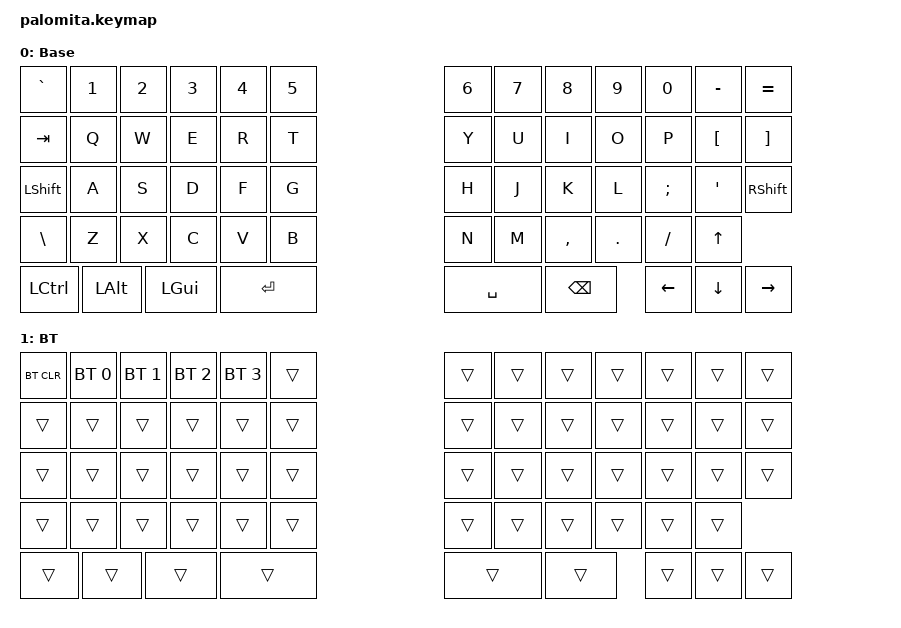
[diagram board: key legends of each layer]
/*
 * SPDX-License-Identifier: MIT
 */

#include <behaviors.dtsi>
#include <dt-bindings/zmk/keys.h>
#include <dt-bindings/zmk/bt.h>

/ {
    combos {
        compatible = "zmk,combos";

        combo_esc {
            timeout-ms = <50>;
            key-positions = <28 29>;
            bindings = <&kp ESC>;
            layers = <0>;
        };

        combo_bt {
            timeout-ms = <50>;
            key-positions = <57 59>;
            bindings = <&mo 1>;
            layers = <0>;
        };
    };

    keymap {
        compatible = "zmk,keymap";

        base_layer {
            display-name = "Base";
            bindings = <
&kp GRAVE  &kp N1     &kp N2     &kp N3     &kp N4     &kp N5                    &kp N6     &kp N7     &kp N8     &kp N9     &kp N0     &kp MINUS  &kp EQUAL
&kp TAB    &kp Q      &kp W      &kp E      &kp R      &kp T                     &kp Y      &kp U      &kp I      &kp O      &kp P      &kp LBKT   &kp RBKT
&kp LSHFT  &kp A      &kp S      &kp D      &kp F      &kp G                     &kp H      &kp J      &kp K      &kp L      &kp SEMI   &kp SQT    &kp RSHFT
&kp BSLH   &kp Z      &kp X      &kp C      &kp V      &kp B                     &kp N      &kp M      &kp COMMA  &kp DOT    &kp FSLH   &kp UP
&kp LCTRL  &kp LALT   &kp LGUI   &kp RET                                        &kp SPACE  &kp BSPC   &kp LEFT   &kp DOWN   &kp RIGHT
            >;
        };

        bt_layer {
            display-name = "BT";
            bindings = <
&bt BT_CLR &bt BT_SEL 0 &bt BT_SEL 1 &bt BT_SEL 2 &bt BT_SEL 3 &trans            &trans     &trans     &trans     &trans     &trans     &trans     &trans
&trans     &trans     &trans     &trans     &trans     &trans                    &trans     &trans     &trans     &trans     &trans     &trans     &trans
&trans     &trans     &trans     &trans     &trans     &trans                    &trans     &trans     &trans     &trans     &trans     &trans     &trans
&trans     &trans     &trans     &trans     &trans     &trans                    &trans     &trans     &trans     &trans     &trans     &trans
&trans     &trans     &trans     &trans                                         &trans     &trans     &trans     &trans     &trans
            >;
        };
    };
};
